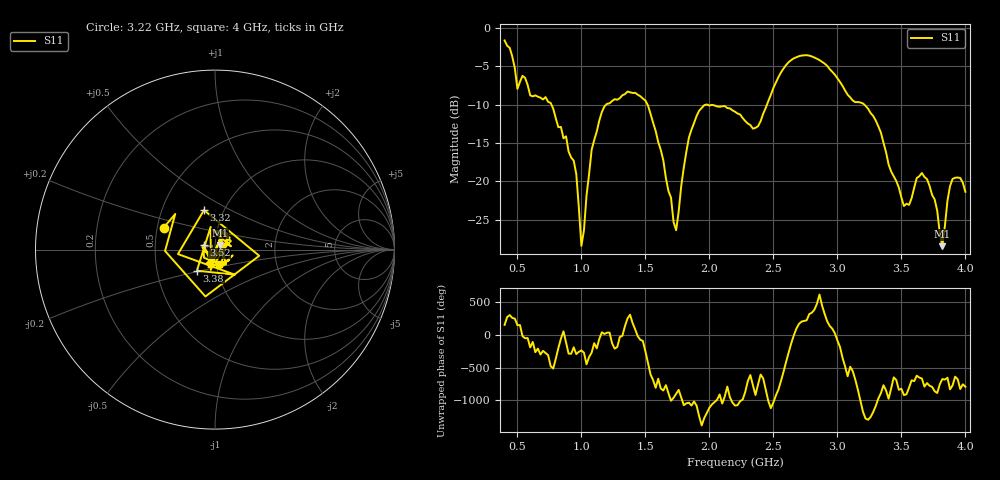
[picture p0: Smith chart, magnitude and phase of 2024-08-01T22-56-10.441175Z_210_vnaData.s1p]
!Created with skrf (http://scikit-rf.org).
# Hz S RI R 50.0
!freq ReS11 ImS11
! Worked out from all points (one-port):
!   181 points, 400 MHz to 4 GHz, reference 50 ohm
!   lowest |S11| = -28.5 dB at 3.82 GHz (marker M1), VSWR 1.08, Z = 52.8 + j2.72 ohm
!   |S11| at or under -10 dB: 1.517 GHz to 1.974 GHz (457.1 MHz wide, 26.2 % of centre); 1.984 GHz to 2.45 GHz (465.7 MHz wide, 21 % of centre); 3.211 GHz to end of sweep (the widest 3 of 4)
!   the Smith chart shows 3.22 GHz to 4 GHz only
!   S11 on the Smith chart (normalised r, x): 3.22 GHz: 0.54, +0.15; 3.32 GHz: 0.81, +0.37; 3.38 GHz: 0.80, -0.19; 3.52 GHz: 0.88, +0.05; 4 GHz: 1.03, -0.17
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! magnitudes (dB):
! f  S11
! 400 MHz  -1.6
! 500 MHz  -7.9
! 720 MHz  -9.0
! 860 MHz  -14.4
! 960 MHz  -19.1
! 1 GHz  -28.4
! 1.08 GHz  -15.9
! 1.18 GHz  -10.2
! 1.3 GHz  -9.1
! 1.5 GHz  -9.5
! 1.64 GHz  -17.3
! 1.72 GHz  -25.3
! 1.76 GHz  -23.9
! 1.84 GHz  -14.3
! 1.92 GHz  -10.8
! 2.2 GHz  -10.9
! 2.38 GHz  -12.8
! 2.66 GHz  -3.9
! 3.1 GHz  -9.0
! 3.22 GHz  -10.1
! 3.32 GHz  -12.8
! 3.38 GHz  -16.2
! 3.52 GHz  -23.2
! 3.56 GHz  -23.1
! 3.7 GHz  -19.7
! 3.82 GHz  -28.5
! 3.9 GHz  -19.7
! 4 GHz  -21.4
